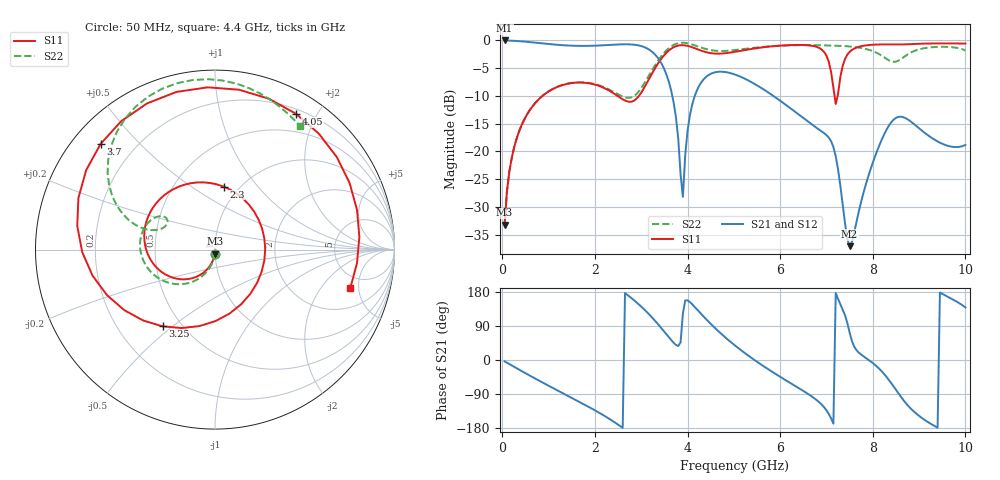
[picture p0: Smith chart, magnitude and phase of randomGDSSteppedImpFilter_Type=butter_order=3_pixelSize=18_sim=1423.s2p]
! freq	dB(S11)	phase(S11)	dB(S12)	phase(S12)
!  dB(S21)	phase(S21)	dB(S22)	phase(S22)
!S-par simulation data
#  GHz  S  DB  R 50
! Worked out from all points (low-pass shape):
!   200 points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, 50 MHz to 10 GHz, reference 50 ohm
!   highest |S21| = -0.01 dB at 50 MHz (marker M1); lowest = -37.1 dB at 7.5 GHz (marker M2)
!   |S21| within 3 dB of the highest: start of sweep to 3.346 GHz
!   lowest |S11| = -33.2 dB at 50 MHz (marker M3), VSWR 1.04, Z = 49.8 - j2.17 ohm
!   |S11| at or under -10 dB: start of sweep to 868.7 MHz; 2.487 GHz to 2.951 GHz (464.1 MHz wide, 17.1 % of centre); 7.174 GHz to 7.24 GHz (66.01 MHz wide, 0.916 % of centre)
!   |S22| runs from -33.2 to -0.4 dB; largest |S21 - S12| = 0
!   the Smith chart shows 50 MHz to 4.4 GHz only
!   S11 on the Smith chart (normalised r, x): 50 MHz: 1.00, -0.04; 2.3 GHz: 0.85, +0.68; 3.25 GHz: 0.40, -0.46; 3.7 GHz: 0.08, +0.39; 4.05 GHz: 0.26, +1.73; 4.4 GHz: 3.68, -4.03
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0.05  -33.21 -93.6  -0.01 -3.6  -0.01 -3.6  -33.20 -93.0
0.5  -13.85 -128.3  -0.23 -34.8  -0.23 -34.8  -13.84 -122.3
1.75  -7.61 137.8  -0.99 -115.9  -0.99 -115.9  -7.56 169.7
2.3  -9.01 82.2  -0.82 -154.5  -0.82 -154.5  -8.82 149.2
3.25  -5.72 -124.3  -2.15 110.1  -2.15 110.1  -5.14 158.7
3.4  -3.70 -157.2  -3.64 89.2  -3.64 89.2  -3.21 148.7
3.7  -1.23 137.2  -11.18 45.6  -11.18 45.6  -0.81 119.0
3.9  -0.87 92.6  -28.19 122.8  -28.19 122.8  -0.42 97.4
4.05  -1.10 59.2  -13.53 153.0  -13.53 153.0  -0.61 82.5
4.4  -2.12 -15.7  -6.58 107.9  -6.58 107.9  -1.56 55.3
5.05  -2.02 -122.9  -6.23 35.8  -6.23 35.8  -1.71 13.9
5.8  -1.09 160.2  -9.70 -29.0  -9.70 -29.0  -1.05 -41.2
6.7  -0.98 82.2  -15.24 -97.7  -15.24 -97.7  -0.85 -106.2
7.05  -3.85 17.7  -17.51 -142.4  -17.51 -142.4  -0.93 -130.9
7.2  -11.45 -92.7  -20.88 176.7  -20.88 176.7  -0.97 -141.6
7.5  -2.06 109.1  -37.08 72.5  -37.08 72.5  -1.09 -165.6
7.95  -0.81 62.4  -23.27 -3.2  -23.27 -3.2  -1.78 145.4
8.35  -0.75 37.8  -15.33 -53.0  -15.33 -53.0  -3.59 55.1
8.55  -0.76 28.0  -13.79 -87.5  -13.79 -87.5  -3.67 -17.7
8.85  -0.65 14.3  -14.81 -131.6  -14.81 -131.6  -2.07 -100.5
9.4  -0.54 -9.3  -18.21 -178.7  -18.21 -178.7  -1.17 -172.0
10  -0.58 -32.5  -18.84 138.8  -18.84 138.8  -1.83 127.1
